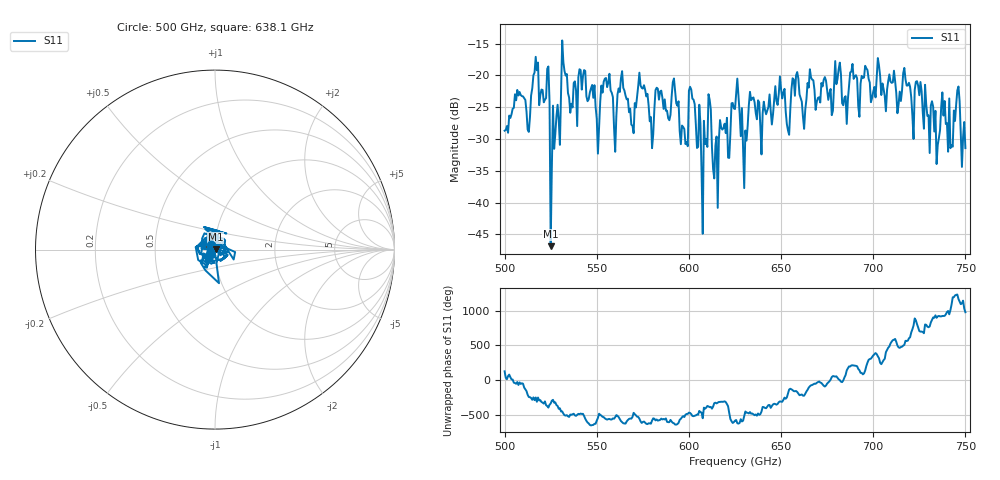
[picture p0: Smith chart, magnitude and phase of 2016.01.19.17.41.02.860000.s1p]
!Created with skrf (http://scikit-rf.org).
# GHz S RI R 50.0
!freq ReS11 ImS11
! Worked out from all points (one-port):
!   401 points, 500 GHz to 750 GHz, reference 50 ohm
!   lowest |S11| = -46.8 dB at 525 GHz (marker M1), VSWR 1.01, Z = 50.4 + j0.232 ohm
!   |S11| at or under -10 dB: start of sweep to end of sweep
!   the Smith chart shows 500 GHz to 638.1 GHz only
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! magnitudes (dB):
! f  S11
! 500 GHz  -28.7
! 513.1 GHz  -28.9
! 516.9 GHz  -17.1
! 523.1 GHz  -18.9
! 525 GHz  -46.8
! 526.2 GHz  -24.7
! 531.2 GHz  -14.5
! 550.6 GHz  -32.3
! 562.5 GHz  -22.6
! 568.8 GHz  -27.7
! 573.8 GHz  -21.6
! 580 GHz  -31.4
! 593.8 GHz  -24.8
! 598.1 GHz  -30.8
! 601.2 GHz  -22.2
! 608.1 GHz  -27.1
! 611.2 GHz  -23.8
! 614.4 GHz  -31.0
! 625 GHz  -25.3
! 630.6 GHz  -28.6
! 633.8 GHz  -23.9
! 653.8 GHz  -28.6
! 656.2 GHz  -20.4
! 687.5 GHz  -19.5
! 718.8 GHz  -21.6
! 734.4 GHz  -33.9
! 745.6 GHz  -22.3
! 750 GHz  -31.4
